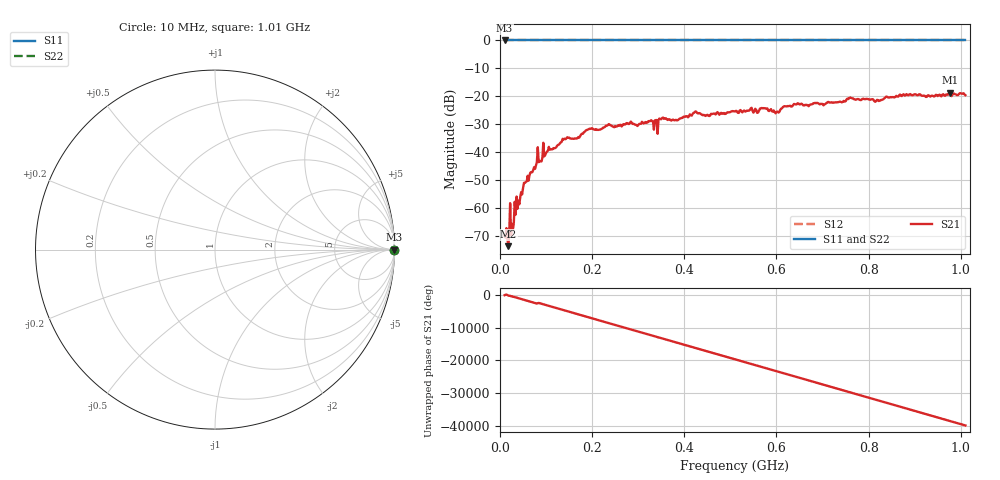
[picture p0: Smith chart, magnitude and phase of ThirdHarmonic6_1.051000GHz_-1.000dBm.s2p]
! 8/16/2025 9:17:28 AM
! C:\ANRITSUVNA\TEMP\TEMP.S2P
! CHANNEL.1
! TR.MEASUREMENT
! RAW.DATA
! RF.CORRECTION.OFF
! AVERAGING.OFF
! IF.BANDWIDTH: 5KHZ
! SWEEPTYPE:  FREQ.SWEEP(Linear)
! Reference Plane Port Info
! PORT:  PORT1  PORT2
! DISTANCE:  0  m  0  m
! TIME:  0  s  0  s
! PHASE.OFFSET:  0  deg.  0  deg.
! LOSS:  0  dB  0  dB
! REF.LOSS:  0  dB  0  dB
! REF.FREQ:  0  Hz  0  Hz
! Power Info
! POWER:  -20  dBm  -20  dBm
! EFF.POWER:  -20  dBm  -20  dBm
! SOURCE.ATTEN:  0  dB  0  dB
! TEST.ATTEN:  0  dB  0  dB
# GHZ S RI R 50.0
! FREQ.GHZ  S11RE  S11IM  S21RE  S21IM  S12RE  S12IM  S22RE  S22IM
!; PortSelection: Port_12
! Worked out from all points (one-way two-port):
!   501 points, 10 MHz to 1.01 GHz, reference 50 ohm
!   highest |S21| = -18.71 dB at 976 MHz (marker M1); lowest = -73.6 dB at 18 MHz (marker M2)
!   lowest |S11| = 0.0 dB at 10 MHz (marker M3)
!   |S11| at or under -10 dB: nowhere
!   |S22| runs from 0.0 to 0.0 dB; largest |S21 - S12| = 1.1
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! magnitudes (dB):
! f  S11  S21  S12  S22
! 10 MHz  0.0  -69.8  0.0  0.0
! 16 MHz  0.0  -70.6  0.0  0.0
! 18 MHz  0.0  -73.6  0.0  0.0
! 28 MHz  0.0  -67.7  0.0  0.0
! 36 MHz  0.0  -55.8  0.0  0.0
! 56 MHz  0.0  -50.6  0.0  0.0
! 82 MHz  0.0  -38.2  0.0  0.0
! 88 MHz  0.0  -43.2  0.0  0.0
! 140 MHz  0.0  -35.1  0.0  0.0
! 178 MHz  0.0  -33.4  0.0  0.0
! 234 MHz  0.0  -30.3  0.0  0.0
! 344 MHz  0.0  -28.4  0.0  0.0
! 424 MHz  0.0  -25.4  0.0  0.0
! 450 MHz  0.0  -26.6  0.0  0.0
! 510 MHz  0.0  -25.4  0.0  0.0
! 572 MHz  0.0  -24.2  0.0  0.0
! 602 MHz  0.0  -25.4  0.0  0.0
! 618 MHz  0.0  -23.5  0.0  0.0
! 678 MHz  0.0  -22.8  0.0  0.0
! 844 MHz  0.0  -20.4  0.0  0.0
! 976 MHz  0.0  -18.7  0.0  0.0
! 1.01 GHz  0.0  -19.6  0.0  0.0
